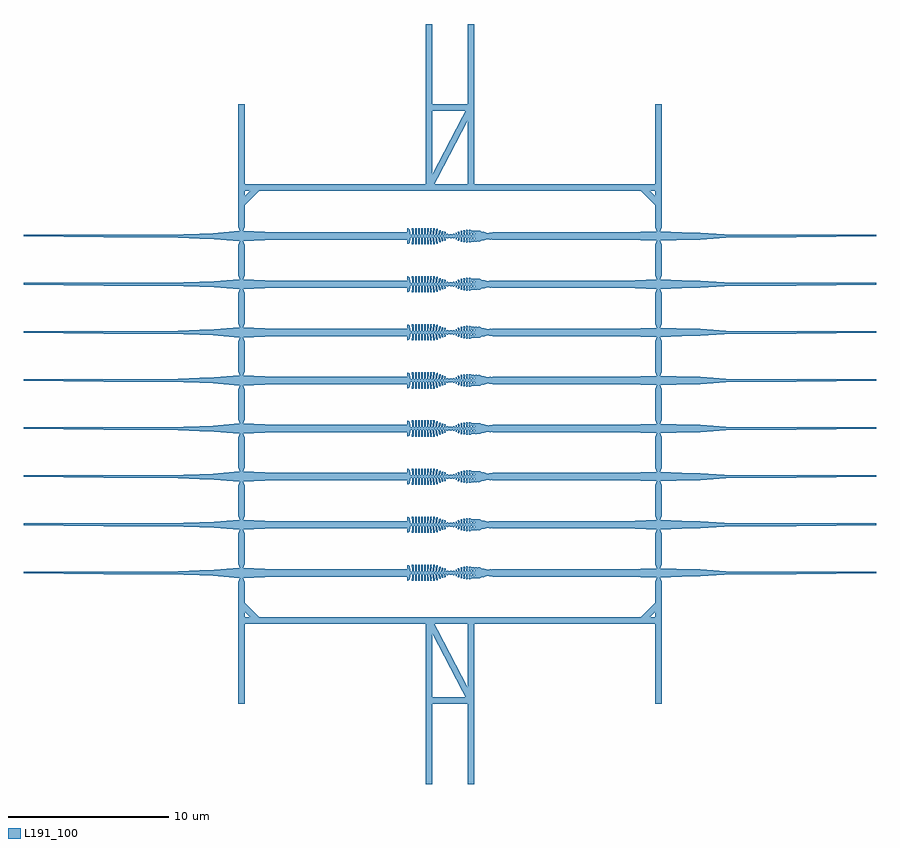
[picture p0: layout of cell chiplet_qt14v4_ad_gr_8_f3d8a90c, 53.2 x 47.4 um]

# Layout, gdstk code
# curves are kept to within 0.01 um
from math import pi, radians
import gdstk
lib = gdstk.Library(unit=1e-6, precision=1e-09)
def R(c, l, rs):  # rectangles x0, y0, x1, y1
    for r in rs: c.add(gdstk.rectangle(r[:2], r[2:], *l))
def P(c, l, *ps):  # polygons
    for p in ps: c.add(gdstk.Polygon(p, *l))
L191_100 = (191, 100)

qt14_180nm_gap_cavity_9e = lib.new_cell('QT14_180nm_gap_cavity_9e89cd71')
P(qt14_180nm_gap_cavity_9e, L191_100, [(2.652,0.206),(2.586,0.201),(2.502,0.22),(2.418,0.185),(2.294,0.191),(2.094,0.26),(1.982,0.253),(1.838,0.336),(1.718,0.324),(1.638,0.343),(1.554,0.331),(1.35,0.339),(1.222,0.395),(1.186,0.363),(1.165,0.27),(1.194,0.109),(1.154,0.084),(1.122,0.097),(1.108,0.122),(1.107,0.35),(1.062,0.396),(1.026,0.4),(1.004,0.382),(1,0.35),(1.016,0.286),(1.004,0.178),(1.027,0.09),(0.995,0.054),(0.953,0.07),(0.928,0.106),(0.939,0.322),(0.91,0.364),(0.866,0.371),(0.837,0.354),(0.828,0.182),(0.851,0.098),(0.839,0.058),(0.81,0.035),(0.761,0.09),(0.76,0.238),(0.734,0.335),(0.698,0.348),(0.671,0.33),(0.663,0.206),(0.684,0.106),(0.638,0.056),(0.604,0.062),(0.588,0.09),(0.599,0.19),(0.58,0.234),(0.538,0.284),(0.503,0.282),(0.492,0.246),(0.524,0.122),(0.512,0.086),(0.482,0.064),(0.454,0.068),(0.435,0.11),(0.435,-0.11),(0.458,-0.065),(0.486,-0.065),(0.512,-0.086),(0.524,-0.146),(0.492,-0.262),(0.526,-0.288),(0.555,-0.27),(0.596,-0.202),(0.592,-0.078),(0.622,-0.055),(0.661,-0.07),(0.684,-0.106),(0.663,-0.218),(0.671,-0.33),(0.69,-0.347),(0.722,-0.343),(0.747,-0.314),(0.763,-0.206),(0.756,-0.11),(0.777,-0.058),(0.81,-0.035),(0.85,-0.09),(0.828,-0.202),(0.834,-0.342),(0.854,-0.368),(0.902,-0.367),(0.936,-0.338),(0.924,-0.122),(0.945,-0.078),(0.99,-0.053),(1.027,-0.09),(1.004,-0.178),(1.016,-0.286),(1,-0.35),(1.004,-0.382),(1.026,-0.4),(1.062,-0.396),(1.107,-0.35),(1.108,-0.122),(1.122,-0.097),(1.154,-0.084),(1.185,-0.094),(1.195,-0.114),(1.165,-0.27),(1.182,-0.353),(1.214,-0.393),(1.258,-0.388),(1.35,-0.339),(1.554,-0.331),(1.638,-0.343),(1.718,-0.324),(1.822,-0.339),(1.982,-0.253),(2.094,-0.26),(2.294,-0.191),(2.418,-0.185),(2.502,-0.22),(2.586,-0.201),(2.65,-0.212),(2.652,-0.138),(1.557,-0.138),(1.542,-0.198),(1.506,-0.213),(1.469,-0.182),(1.469,-0.11),(1.377,-0.11),(1.354,-0.184),(1.314,-0.2),(1.272,-0.122),(1.272,-0.098),(1.3,-0.066),(1.358,-0.062),(1.377,-0.11),(1.469,-0.11),(1.495,-0.078),(1.526,-0.076),(1.547,-0.094),(1.557,-0.138),(2.652,-0.138),(2.652,0.142),(1.557,0.142),(1.551,0.102),(1.526,0.076),(1.49,0.081),(1.468,0.114),(1.377,0.114),(1.363,0.066),(1.326,0.056),(1.272,0.098),(1.276,0.138),(1.314,0.2),(1.354,0.184),(1.377,0.114),(1.468,0.114),(1.469,0.182),(1.506,0.213),(1.542,0.198),(1.557,0.142),(2.652,0.142)],
  [(-1.058,0.504),(-1.072,0.134),(-1.103,0.09),(-1.154,0.063),(-1.179,0.074),(-1.185,0.098),(-1.151,0.294),(-1.159,0.442),(-1.139,0.502),(-1.24,0.503),(-1.238,-0.504),(-1.139,-0.502),(-1.159,-0.442),(-1.151,-0.294),(-1.185,-0.098),(-1.162,-0.064),(-1.11,-0.084),(-1.072,-0.134),(-1.058,-0.504),(-0.957,-0.494),(-0.98,-0.194),(-1.012,-0.102),(-1.004,-0.062),(-0.978,-0.038),(-0.942,-0.058),(-0.904,-0.114),(-0.88,-0.35),(-0.84,-0.434),(-0.794,-0.469),(-0.761,-0.454),(-0.756,-0.426),(-0.807,-0.266),(-0.804,-0.182),(-0.836,-0.094),(-0.832,-0.058),(-0.81,-0.039),(-0.774,-0.052),(-0.732,-0.102),(-0.708,-0.266),(-0.626,-0.376),(-0.59,-0.371),(-0.564,-0.334),(-0.652,-0.11),(-0.648,-0.062),(-0.624,-0.038),(-0.594,-0.046),(-0.565,-0.078),(-0.515,-0.262),(-0.466,-0.312),(-0.435,-0.298),(-0.412,-0.25),(-0.456,-0.106),(-0.448,-0.062),(-0.422,-0.048),(-0.372,-0.09),(-0.356,-0.146),(-0.363,-0.238),(-0.33,-0.275),(-0.298,-0.267),(-0.279,-0.242),(-0.296,-0.13),(-0.258,-0.088),(-0.166,-0.144),(-0.074,-0.096),(0.078,-0.123),(0.154,-0.08),(0.208,-0.138),(0.234,-0.145),(0.326,-0.061),(0.347,-0.086),(0.37,-0.194),(0.394,-0.2),(0.419,-0.17),(0.435,-0.11),(0.435,0.11),(0.419,0.17),(0.394,0.2),(0.361,0.182),(0.347,0.086),(0.326,0.061),(0.234,0.145),(0.208,0.138),(0.154,0.08),(0.078,0.123),(-0.074,0.096),(-0.166,0.144),(-0.258,0.088),(-0.296,0.13),(-0.279,0.242),(-0.298,0.267),(-0.33,0.275),(-0.363,0.238),(-0.356,0.146),(-0.372,0.09),(-0.422,0.048),(-0.448,0.062),(-0.456,0.106),(-0.412,0.25),(-0.435,0.298),(-0.466,0.312),(-0.515,0.262),(-0.565,0.078),(-0.594,0.046),(-0.624,0.038),(-0.648,0.062),(-0.652,0.11),(-0.564,0.322),(-0.574,0.357),(-0.606,0.376),(-0.647,0.362),(-0.708,0.266),(-0.716,0.15),(-0.737,0.094),(-0.778,0.049),(-0.818,0.042),(-0.836,0.094),(-0.804,0.182),(-0.807,0.266),(-0.756,0.426),(-0.761,0.454),(-0.786,0.469),(-0.827,0.45),(-0.868,0.382),(-0.891,0.302),(-0.904,0.114),(-0.942,0.058),(-0.978,0.038),(-1.004,0.062),(-1.012,0.102),(-0.98,0.194),(-0.957,0.494)],
  [(-1.242,0.272),(-1.258,0.221),(-1.26,0.102),(-1.298,0.072),(-1.351,0.074),(-1.336,0.502),(-1.434,0.503),(-1.42,0.446),(-1.433,0.118),(-1.466,0.076),(-1.518,0.077),(-1.532,0.11),(-1.516,0.222),(-1.524,0.438),(-1.509,0.502),(-1.618,0.503),(-1.597,0.434),(-1.612,0.246),(-1.604,0.106),(-1.626,0.076),(-1.686,0.076),(-1.705,0.114),(-1.704,0.498),(-1.782,0.503),(-1.795,0.362),(-1.783,0.102),(-1.803,0.074),(-1.854,0.074),(-1.889,0.114),(-1.876,0.226),(-1.888,0.502),(-1.966,0.503),(-1.976,0.318),(-1.961,0.11),(-1.992,0.07),(-2.038,0.061),(-2.08,0.106),(-2.068,0.186),(-2.078,0.502),(-2.162,0.504),(-2.155,0.114),(-2.179,0.078),(-2.218,0.066),(-2.264,0.11),(-2.281,0.502),(-2.378,0.504),(-2.387,0.45),(-2.345,0.11),(-2.364,0.078),(-2.41,0.066),(-2.46,0.09),(-2.486,0.126),(-2.489,0.246),(-2.522,0.403),(-2.578,0.459),(-2.65,0.486),(-2.651,0.278),(-2.57,0.066),(-2.572,-0.082),(-2.651,-0.278),(-2.65,-0.486),(-2.578,-0.459),(-2.526,-0.41),(-2.489,-0.246),(-2.483,-0.118),(-2.45,-0.083),(-2.394,-0.065),(-2.364,-0.078),(-2.345,-0.11),(-2.384,-0.502),(-2.282,-0.503),(-2.264,-0.11),(-2.244,-0.078),(-2.206,-0.066),(-2.174,-0.082),(-2.155,-0.114),(-2.168,-0.502),(-2.078,-0.502),(-2.068,-0.186),(-2.08,-0.106),(-2.056,-0.07),(-2.014,-0.06),(-1.978,-0.08),(-1.961,-0.11),(-1.976,-0.318),(-1.968,-0.502),(-1.888,-0.502),(-1.876,-0.226),(-1.889,-0.114),(-1.878,-0.088),(-1.834,-0.069),(-1.796,-0.078),(-1.783,-0.102),(-1.795,-0.346),(-1.785,-0.502),(-1.705,-0.502),(-1.704,-0.102),(-1.686,-0.076),(-1.662,-0.071),(-1.626,-0.076),(-1.604,-0.106),(-1.612,-0.246),(-1.597,-0.434),(-1.62,-0.502),(-1.509,-0.502),(-1.524,-0.438),(-1.516,-0.222),(-1.532,-0.098),(-1.502,-0.072),(-1.454,-0.082),(-1.433,-0.118),(-1.42,-0.446),(-1.435,-0.502),(-1.336,-0.502),(-1.336,-0.29),(-1.359,-0.098),(-1.35,-0.073),(-1.322,-0.067),(-1.26,-0.102),(-1.257,-0.23),(-1.24,-0.278)],
  [(-1.24,-0.326),(-1.24,-0.342),(-1.241,-0.346),(-1.241,-0.35),(-1.243,-0.358),(-1.243,-0.362),(-1.244,-0.366),(-1.244,-0.43),(-1.243,-0.434),(-1.243,-0.45),(-1.242,-0.462),(-1.242,-0.466),(-1.243,-0.474),(-1.243,-0.494),(-1.244,-0.502),(-1.242,-0.503),(-1.24,-0.503)],
  [(-1.242,0.503),(-1.244,0.502),(-1.243,0.494),(-1.243,0.474),(-1.242,0.466),(-1.243,0.45),(-1.243,0.434),(-1.244,0.43),(-1.244,0.366),(-1.243,0.362),(-1.243,0.358),(-1.241,0.35),(-1.241,0.346),(-1.24,0.342),(-1.24,0.322),(-1.24,0.503)])

taper_cross_section_b099 = lib.new_cell('taper_cross_section_b0997aaa')
P(taper_cross_section_b099, L191_100, [(0,-0.23),(0.03,-0.23),(0.061,-0.23),(0.091,-0.23),(0.121,-0.23),(0.152,-0.23),(0.182,-0.23),(0.212,-0.23),(0.242,-0.23),(0.273,-0.23),(0.303,-0.23),(0.333,-0.23),(0.364,-0.23),(0.394,-0.23),(0.424,-0.23),(0.455,-0.23),(0.485,-0.23),(0.515,-0.23),(0.545,-0.23),(0.576,-0.23),(0.606,-0.23),(0.636,-0.23),(0.667,-0.23),(0.697,-0.23),(0.727,-0.23),(0.758,-0.23),(0.788,-0.23),(0.818,-0.23),(0.848,-0.23),(0.879,-0.23),(0.909,-0.23),(0.939,-0.23),(0.97,-0.23),(1,-0.23),(1.03,-0.23),(1.061,-0.23),(1.091,-0.23),(1.121,-0.23),(1.152,-0.23),(1.182,-0.23),(1.212,-0.23),(1.242,-0.23),(1.273,-0.23),(1.303,-0.23),(1.333,-0.23),(1.364,-0.23),(1.394,-0.23),(1.424,-0.23),(1.455,-0.23),(1.485,-0.23),(1.515,-0.23),(1.545,-0.23),(1.576,-0.23),(1.606,-0.23),(1.636,-0.23),(1.667,-0.23),(1.697,-0.23),(1.727,-0.23),(1.758,-0.23),(1.788,-0.23),(1.818,-0.23),(1.848,-0.23),(1.879,-0.23),(1.909,-0.23),(1.939,-0.23),(1.97,-0.23),(2,-0.23),(2.03,-0.23),(2.061,-0.23),(2.091,-0.23),(2.121,-0.23),(2.152,-0.23),(2.182,-0.23),(2.212,-0.23),(2.242,-0.23),(2.273,-0.23),(2.303,-0.23),(2.333,-0.23),(2.364,-0.23),(2.394,-0.23),(2.424,-0.23),(2.455,-0.23),(2.485,-0.23),(2.515,-0.23),(2.545,-0.23),(2.576,-0.23),(2.606,-0.23),(2.636,-0.23),(2.667,-0.23),(2.697,-0.23),(2.727,-0.23),(2.758,-0.23),(2.788,-0.23),(2.818,-0.23),(2.848,-0.23),(2.879,-0.23),(2.909,-0.23),(2.939,-0.23),(2.97,-0.23),(3,-0.23),(3,0.23),(2.97,0.23),(2.939,0.23),(2.909,0.23),(2.879,0.23),(2.848,0.23),(2.818,0.23),(2.788,0.23),(2.758,0.23),(2.727,0.23),(2.697,0.23),(2.667,0.23),(2.636,0.23),(2.606,0.23),(2.576,0.23),(2.545,0.23),(2.515,0.23),(2.485,0.23),(2.455,0.23),(2.424,0.23),(2.394,0.23),(2.364,0.23),(2.333,0.23),(2.303,0.23),(2.273,0.23),(2.242,0.23),(2.212,0.23),(2.182,0.23),(2.152,0.23),(2.121,0.23),(2.091,0.23),(2.061,0.23),(2.03,0.23),(2,0.23),(1.97,0.23),(1.939,0.23),(1.909,0.23),(1.879,0.23),(1.848,0.23),(1.818,0.23),(1.788,0.23),(1.758,0.23),(1.727,0.23),(1.697,0.23),(1.667,0.23),(1.636,0.23),(1.606,0.23),(1.576,0.23),(1.545,0.23),(1.515,0.23),(1.485,0.23),(1.455,0.23),(1.424,0.23),(1.394,0.23),(1.364,0.23),(1.333,0.23),(1.303,0.23),(1.273,0.23),(1.242,0.23),(1.212,0.23),(1.182,0.23),(1.152,0.23),(1.121,0.23),(1.091,0.23),(1.061,0.23),(1.03,0.23),(1,0.23),(0.97,0.23),(0.939,0.23),(0.909,0.23),(0.879,0.23),(0.848,0.23),(0.818,0.23),(0.788,0.23),(0.758,0.23),(0.727,0.23),(0.697,0.23),(0.667,0.23),(0.636,0.23),(0.606,0.23),(0.576,0.23),(0.545,0.23),(0.515,0.23),(0.485,0.23),(0.455,0.23),(0.424,0.23),(0.394,0.23),(0.364,0.23),(0.333,0.23),(0.303,0.23),(0.273,0.23),(0.242,0.23),(0.212,0.23),(0.182,0.23),(0.152,0.23),(0.121,0.23),(0.091,0.23),(0.061,0.23),(0.03,0.23),(0,0.23)])

taper_cross_section_83e5 = lib.new_cell('taper_cross_section_83e5c939')
P(taper_cross_section_83e5, L191_100, [(0,-0.23),(0.03,-0.23),(0.061,-0.23),(0.091,-0.23),(0.121,-0.23),(0.152,-0.23),(0.182,-0.23),(0.212,-0.23),(0.242,-0.23),(0.273,-0.23),(0.303,-0.23),(0.333,-0.23),(0.364,-0.23),(0.394,-0.23),(0.424,-0.23),(0.455,-0.23),(0.485,-0.23),(0.515,-0.23),(0.545,-0.23),(0.576,-0.23),(0.606,-0.23),(0.636,-0.23),(0.667,-0.23),(0.697,-0.23),(0.727,-0.23),(0.758,-0.23),(0.788,-0.23),(0.818,-0.23),(0.848,-0.23),(0.879,-0.23),(0.909,-0.23),(0.939,-0.23),(0.97,-0.23),(1,-0.23),(1.03,-0.23),(1.061,-0.23),(1.091,-0.23),(1.121,-0.23),(1.152,-0.23),(1.182,-0.23),(1.212,-0.23),(1.242,-0.23),(1.273,-0.23),(1.303,-0.23),(1.333,-0.23),(1.364,-0.23),(1.394,-0.23),(1.424,-0.23),(1.455,-0.23),(1.485,-0.23),(1.515,-0.23),(1.545,-0.23),(1.576,-0.23),(1.606,-0.23),(1.636,-0.23),(1.667,-0.23),(1.697,-0.23),(1.727,-0.23),(1.758,-0.23),(1.788,-0.23),(1.818,-0.23),(1.848,-0.23),(1.879,-0.23),(1.909,-0.23),(1.939,-0.23),(1.97,-0.23),(2,-0.23),(2.03,-0.23),(2.061,-0.23),(2.091,-0.23),(2.121,-0.23),(2.152,-0.23),(2.182,-0.23),(2.212,-0.23),(2.242,-0.23),(2.273,-0.23),(2.303,-0.23),(2.333,-0.23),(2.364,-0.23),(2.394,-0.23),(2.424,-0.23),(2.455,-0.23),(2.485,-0.23),(2.515,-0.23),(2.545,-0.23),(2.576,-0.23),(2.606,-0.23),(2.636,-0.23),(2.667,-0.23),(2.697,-0.23),(2.727,-0.23),(2.758,-0.23),(2.788,-0.23),(2.818,-0.23),(2.848,-0.23),(2.879,-0.23),(2.909,-0.23),(2.939,-0.23),(2.97,-0.23),(3,-0.23),(3,0.23),(2.97,0.23),(2.939,0.23),(2.909,0.23),(2.879,0.23),(2.848,0.23),(2.818,0.23),(2.788,0.23),(2.758,0.23),(2.727,0.23),(2.697,0.23),(2.667,0.23),(2.636,0.23),(2.606,0.23),(2.576,0.23),(2.545,0.23),(2.515,0.23),(2.485,0.23),(2.455,0.23),(2.424,0.23),(2.394,0.23),(2.364,0.23),(2.333,0.23),(2.303,0.23),(2.273,0.23),(2.242,0.23),(2.212,0.23),(2.182,0.23),(2.152,0.23),(2.121,0.23),(2.091,0.23),(2.061,0.23),(2.03,0.23),(2,0.23),(1.97,0.23),(1.939,0.23),(1.909,0.23),(1.879,0.23),(1.848,0.23),(1.818,0.23),(1.788,0.23),(1.758,0.23),(1.727,0.23),(1.697,0.23),(1.667,0.23),(1.636,0.23),(1.606,0.23),(1.576,0.23),(1.545,0.23),(1.515,0.23),(1.485,0.23),(1.455,0.23),(1.424,0.23),(1.394,0.23),(1.364,0.23),(1.333,0.23),(1.303,0.23),(1.273,0.23),(1.242,0.23),(1.212,0.23),(1.182,0.23),(1.152,0.23),(1.121,0.23),(1.091,0.23),(1.061,0.23),(1.03,0.23),(1,0.23),(0.97,0.23),(0.939,0.23),(0.909,0.23),(0.879,0.23),(0.848,0.23),(0.818,0.23),(0.788,0.23),(0.758,0.23),(0.727,0.23),(0.697,0.23),(0.667,0.23),(0.636,0.23),(0.606,0.23),(0.576,0.23),(0.545,0.23),(0.515,0.23),(0.485,0.23),(0.455,0.23),(0.424,0.23),(0.394,0.23),(0.364,0.23),(0.333,0.23),(0.303,0.23),(0.273,0.23),(0.242,0.23),(0.212,0.23),(0.182,0.23),(0.152,0.23),(0.121,0.23),(0.091,0.23),(0.061,0.23),(0.03,0.23),(0,0.23)])

coupled_qbit_b70c0495 = lib.new_cell('coupled_qbit_b70c0495')
coupled_qbit_b70c0495.add(gdstk.Reference(qt14_180nm_gap_cavity_9e, (0,0)))
coupled_qbit_b70c0495.add(gdstk.Reference(taper_cross_section_b099, (5.652,0), rotation=pi))
coupled_qbit_b70c0495.add(gdstk.Reference(taper_cross_section_83e5, (-2.552,0), rotation=pi))

straight_69ee30db = lib.new_cell('straight_69ee30db')
R(straight_69ee30db, L191_100, [(0,-0.23,5.348,0.23)])

straight_220e92dc = lib.new_cell('straight_220e92dc')
R(straight_220e92dc, L191_100, [(0,-0.23,5.248,0.23)])

compass_d79f009c = lib.new_cell('compass_d79f009c')
R(compass_d79f009c, L191_100, [(-0.1,-0.3,0.1,0.3)])

rectangle_ed88580b = lib.new_cell('rectangle_ed88580b')
rectangle_ed88580b.add(gdstk.Reference(compass_d79f009c, (0,0)))

taper_cross_section_74e0 = lib.new_cell('taper_cross_section_74e0f155')
P(taper_cross_section_74e0, L191_100, [(0,-0.225),(2,-0.3),(2,0.3),(0,0.225)])

taper_cross_section_a297 = lib.new_cell('taper_cross_section_a2972c19')
P(taper_cross_section_a297, L191_100, [(0,-0.23),(2,-0.3),(2,0.3),(0,0.23)])

taper_cross_section_20e0 = lib.new_cell('taper_cross_section_20e0bc68')
P(taper_cross_section_20e0, L191_100, [(0,-0.1),(0.25,-0.2),(0.25,0.2),(0,0.1)])

support_cross_f89d0b61 = lib.new_cell('support_cross_f89d0b61')
support_cross_f89d0b61.add(gdstk.Reference(rectangle_ed88580b, (0,0)))
support_cross_f89d0b61.add(gdstk.Reference(taper_cross_section_74e0, (2.1,0), rotation=pi))
support_cross_f89d0b61.add(gdstk.Reference(taper_cross_section_a297, (-2.1,0)))
support_cross_f89d0b61.add(gdstk.Reference(taper_cross_section_20e0, (0,0.3), rotation=pi/2))
support_cross_f89d0b61.add(gdstk.Reference(taper_cross_section_20e0, (0,-0.3), rotation=3*pi/2))

compass_87a1f7e4 = lib.new_cell('compass_87a1f7e4')
R(compass_87a1f7e4, L191_100, [(-0.1,-0.325,0.1,0.325)])

rectangle_03c840df = lib.new_cell('rectangle_03c840df')
rectangle_03c840df.add(gdstk.Reference(compass_87a1f7e4, (0,0)))

taper_cross_section_66c0 = lib.new_cell('taper_cross_section_66c08956')
P(taper_cross_section_66c0, L191_100, [(0,-0.23),(2,-0.325),(2,0.325),(0,0.23)])

taper_cross_section_2160 = lib.new_cell('taper_cross_section_2160c1e2')
P(taper_cross_section_2160, L191_100, [(0,-0.155),(2,-0.325),(2,0.325),(0,0.155)])

support_cross_91ce4cfd = lib.new_cell('support_cross_91ce4cfd')
support_cross_91ce4cfd.add(gdstk.Reference(rectangle_03c840df, (0,0)))
support_cross_91ce4cfd.add(gdstk.Reference(taper_cross_section_66c0, (2.1,0), rotation=pi))
support_cross_91ce4cfd.add(gdstk.Reference(taper_cross_section_2160, (-2.1,0)))
support_cross_91ce4cfd.add(gdstk.Reference(taper_cross_section_20e0, (0,0.325), rotation=pi/2))
support_cross_91ce4cfd.add(gdstk.Reference(taper_cross_section_20e0, (0,-0.325), rotation=3*pi/2))

inverse_design_qbit_beam = lib.new_cell('inverse_design_qbit_beam_ee1b8f59')
inverse_design_qbit_beam.add(gdstk.Reference(coupled_qbit_b70c0495, (0,0)))
inverse_design_qbit_beam.add(gdstk.Reference(straight_69ee30db, (-5.552,0), rotation=pi))
inverse_design_qbit_beam.add(gdstk.Reference(straight_220e92dc, (5.652,0)))
inverse_design_qbit_beam.add(gdstk.Reference(support_cross_f89d0b61, (13,0)))
inverse_design_qbit_beam.add(gdstk.Reference(support_cross_91ce4cfd, (-13,0)))

c_inverse_design_qbit_beam = lib.new_cell('inverse_design_qbit_beam_array_5faf34a2')
r = gdstk.Reference(inverse_design_qbit_beam, (0,0)); r.repetition = gdstk.Repetition(1, 8, v1=(1,0), v2=(0,3)); c_inverse_design_qbit_beam.add(r)

straight_cc08c24d = lib.new_cell('straight_cc08c24d')
R(straight_cc08c24d, L191_100, [(0,-0.2,1.85,0.2)])

straight_7ad87ee6 = lib.new_cell('straight_7ad87ee6')
R(straight_7ad87ee6, L191_100, [(0,-0.2,1.9,0.2)])

qbit_beam_array_664d1158 = lib.new_cell('qbit_beam_array_664d1158')
qbit_beam_array_664d1158.add(gdstk.Reference(c_inverse_design_qbit_beam, (0,0)))
qbit_beam_array_664d1158.add(gdstk.Reference(straight_cc08c24d, (-13,0.575), rotation=pi/2))
qbit_beam_array_664d1158.add(gdstk.Reference(straight_7ad87ee6, (13,0.55), rotation=pi/2))
qbit_beam_array_664d1158.add(gdstk.Reference(straight_cc08c24d, (-13,3.575), rotation=pi/2))
qbit_beam_array_664d1158.add(gdstk.Reference(straight_7ad87ee6, (13,3.55), rotation=pi/2))
qbit_beam_array_664d1158.add(gdstk.Reference(straight_cc08c24d, (-13,6.575), rotation=pi/2))
qbit_beam_array_664d1158.add(gdstk.Reference(straight_7ad87ee6, (13,6.55), rotation=pi/2))
qbit_beam_array_664d1158.add(gdstk.Reference(straight_cc08c24d, (-13,9.575), rotation=pi/2))
qbit_beam_array_664d1158.add(gdstk.Reference(straight_7ad87ee6, (13,9.55), rotation=pi/2))
qbit_beam_array_664d1158.add(gdstk.Reference(straight_cc08c24d, (-13,12.575), rotation=pi/2))
qbit_beam_array_664d1158.add(gdstk.Reference(straight_7ad87ee6, (13,12.55), rotation=pi/2))
qbit_beam_array_664d1158.add(gdstk.Reference(straight_cc08c24d, (-13,15.575), rotation=pi/2))
qbit_beam_array_664d1158.add(gdstk.Reference(straight_7ad87ee6, (13,15.55), rotation=pi/2))
qbit_beam_array_664d1158.add(gdstk.Reference(straight_cc08c24d, (-13,18.575), rotation=pi/2))
qbit_beam_array_664d1158.add(gdstk.Reference(straight_7ad87ee6, (13,18.55), rotation=pi/2))

l_c8ea28a7 = lib.new_cell('L_c8ea28a7')
P(l_c8ea28a7, L191_100, [(-0.2,-0.2),(1.3,-0.2),(1.3,0.2),(0.2,0.2),(0.2,1.3),(-0.2,1.3),(-0.2,-0.2)])

extrude_f667d802 = lib.new_cell('extrude_f667d802')
P(extrude_f667d802, L191_100, [(1.181,0.141),(0.141,1.181),(-0.141,0.899),(0.899,-0.141)])

chiplet_frame_corner_fb6 = lib.new_cell('chiplet_frame_corner_fb6255ab')
chiplet_frame_corner_fb6.add(gdstk.Reference(l_c8ea28a7, (0,0)))
chiplet_frame_corner_fb6.add(gdstk.Reference(extrude_f667d802, (0,0)))

compass_2ac69cab = lib.new_cell('compass_2ac69cab')
R(compass_2ac69cab, L191_100, [(-0.2,-0.2,0.2,0.2)])

rectangle_2ac69cab = lib.new_cell('rectangle_2ac69cab')
rectangle_2ac69cab.add(gdstk.Reference(compass_2ac69cab, (0.2,0.2)))

straight_c0c98653 = lib.new_cell('straight_c0c98653')
R(straight_c0c98653, L191_100, [(0,-0.2,2,0.2)])

straight_d8296038 = lib.new_cell('straight_d8296038')
R(straight_d8296038, L191_100, [(0,-0.2,7.4,0.2)])

straight_0f47a090 = lib.new_cell('straight_0f47a090')
R(straight_0f47a090, L191_100, [(0,-0.2,2.2,0.2)])

straight_ca39a7c7 = lib.new_cell('straight_ca39a7c7')
R(straight_ca39a7c7, L191_100, [(0,-0.2,4.6,0.2)])

extrude_b28737ee = lib.new_cell('extrude_b28737ee')
P(extrude_b28737ee, L191_100, [(10.777,0.108),(13.377,5.108),(13.023,5.292),(10.423,0.292)])

breakout_midsection_7238 = lib.new_cell('breakout_midsection_7238e00b')
breakout_midsection_7238.add(gdstk.Reference(rectangle_2ac69cab, (0.2,0)))
breakout_midsection_7238.add(gdstk.Reference(rectangle_2ac69cab, (2.6,0)))
breakout_midsection_7238.add(gdstk.Reference(rectangle_2ac69cab, (10.4,0)))
breakout_midsection_7238.add(gdstk.Reference(rectangle_2ac69cab, (13,0)))
breakout_midsection_7238.add(gdstk.Reference(rectangle_2ac69cab, (20.8,0)))
breakout_midsection_7238.add(gdstk.Reference(rectangle_2ac69cab, (23.2,0)))
breakout_midsection_7238.add(gdstk.Reference(rectangle_2ac69cab, (10.4,5)))
breakout_midsection_7238.add(gdstk.Reference(rectangle_2ac69cab, (13,5)))
breakout_midsection_7238.add(gdstk.Reference(rectangle_2ac69cab, (10.4,10)))
breakout_midsection_7238.add(gdstk.Reference(rectangle_2ac69cab, (13,10)))
breakout_midsection_7238.add(gdstk.Reference(straight_c0c98653, (0.6,0.2)))
breakout_midsection_7238.add(gdstk.Reference(straight_d8296038, (3,0.2)))
breakout_midsection_7238.add(gdstk.Reference(straight_0f47a090, (10.8,0.2)))
breakout_midsection_7238.add(gdstk.Reference(straight_d8296038, (13.4,0.2)))
breakout_midsection_7238.add(gdstk.Reference(straight_c0c98653, (21.2,0.2)))
breakout_midsection_7238.add(gdstk.Reference(straight_0f47a090, (10.8,5.2)))
breakout_midsection_7238.add(gdstk.Reference(straight_ca39a7c7, (10.6,0.4), rotation=pi/2))
breakout_midsection_7238.add(gdstk.Reference(straight_ca39a7c7, (10.6,5.4), rotation=pi/2))
breakout_midsection_7238.add(gdstk.Reference(straight_ca39a7c7, (13.2,0.4), rotation=pi/2))
breakout_midsection_7238.add(gdstk.Reference(straight_ca39a7c7, (13.2,5.4), rotation=pi/2))
breakout_midsection_7238.add(gdstk.Reference(extrude_b28737ee, (0,0)))

straight_b8c71607 = lib.new_cell('straight_b8c71607')
R(straight_b8c71607, L191_100, [(0,-0.2,5,0.2)])

breakout_support_structu = lib.new_cell('breakout_support_structure_363ea766')
breakout_support_structu.add(gdstk.Reference(chiplet_frame_corner_fb6, (-1.1,0.2), x_reflection=True))
breakout_support_structu.add(gdstk.Reference(chiplet_frame_corner_fb6, (24.9,0.2), rotation=pi))
breakout_support_structu.add(gdstk.Reference(breakout_midsection_7238, (0,0)))
breakout_support_structu.add(gdstk.Reference(straight_b8c71607, (-1.1,0.4), rotation=pi/2))
breakout_support_structu.add(gdstk.Reference(straight_b8c71607, (24.9,0.4), rotation=pi/2))

straight_2f2d2c75 = lib.new_cell('straight_2f2d2c75')
R(straight_2f2d2c75, L191_100, [(0,-0.2,1.155,0.2)])

straight_f5ab2834 = lib.new_cell('straight_f5ab2834')
R(straight_f5ab2834, L191_100, [(0,-0.2,1.18,0.2)])

c_breakout_support_structu = lib.new_cell('breakout_support_structure_with_base_extension_5c3bd4ee')
c_breakout_support_structu.add(gdstk.Reference(breakout_support_structu, (0,0)))
c_breakout_support_structu.add(gdstk.Reference(straight_2f2d2c75, (-1.1,-1.1), rotation=3*pi/2))
c_breakout_support_structu.add(gdstk.Reference(straight_f5ab2834, (24.9,-1.1), rotation=3*pi/2))

straight_6bc4b7b7 = lib.new_cell('straight_6bc4b7b7')
R(straight_6bc4b7b7, L191_100, [(0,-0.2,1.095,0.2)])

straight_a05f0073 = lib.new_cell('straight_a05f0073')
R(straight_a05f0073, L191_100, [(0,-0.2,1.12,0.2)])

c_breakout_support_structu_ = lib.new_cell('breakout_support_structure_with_base_extension_84308aab')
c_breakout_support_structu_.add(gdstk.Reference(breakout_support_structu, (0,0)))
c_breakout_support_structu_.add(gdstk.Reference(straight_6bc4b7b7, (-1.1,-1.1), rotation=3*pi/2))
c_breakout_support_structu_.add(gdstk.Reference(straight_a05f0073, (24.9,-1.1), rotation=3*pi/2))

qt_chiplet_v2_4e317e74 = lib.new_cell('qt_chiplet_v2_4e317e74')
qt_chiplet_v2_4e317e74.add(gdstk.Reference(qbit_beam_array_664d1158, (0,0)))
qt_chiplet_v2_4e317e74.add(gdstk.Reference(c_breakout_support_structu, (-11.9,23.83)))
qt_chiplet_v2_4e317e74.add(gdstk.Reference(c_breakout_support_structu_, (-11.9,-2.77), x_reflection=True))

chiplet_qt14v4_8d6b0e8d = lib.new_cell('chiplet_qt14v4_8d6b0e8d')
chiplet_qt14v4_8d6b0e8d.add(gdstk.Reference(qt_chiplet_v2_4e317e74, (0,0)))

straight_5b8eeee8 = lib.new_cell('straight_5b8eeee8')
R(straight_5b8eeee8, L191_100, [(0,-0.155,0.5,0.155)])

taper_9b1bdfca = lib.new_cell('taper_9b1bdfca')
P(taper_9b1bdfca, L191_100, [(0,0.155),(2,0.08),(2,-0.08),(0,-0.155)])

straight_3af902ff = lib.new_cell('straight_3af902ff')
R(straight_3af902ff, L191_100, [(0,-0.08,4,0.08)])

ramp_6c3b3d98 = lib.new_cell('ramp_6c3b3d98')
P(ramp_6c3b3d98, L191_100, [(0,0.16),(5,0.1),(5,0),(0,0)])

xceleprint_d_sin_transit = lib.new_cell('xceleprint_d_sin_transition_7fae5980')
xceleprint_d_sin_transit.add(gdstk.Reference(straight_5b8eeee8, (0,0)))
xceleprint_d_sin_transit.add(gdstk.Reference(taper_9b1bdfca, (0.5,0)))
xceleprint_d_sin_transit.add(gdstk.Reference(straight_3af902ff, (2.5,0)))
xceleprint_d_sin_transit.add(gdstk.Reference(ramp_6c3b3d98, (6.5,0.08), x_reflection=True))

straight_ee09d4de = lib.new_cell('straight_ee09d4de')
R(straight_ee09d4de, L191_100, [(0,-0.225,0.5,0.225)])

taper_5277910b = lib.new_cell('taper_5277910b')
P(taper_5277910b, L191_100, [(0,0.225),(2,0.08),(2,-0.08),(0,-0.225)])

c_xceleprint_d_sin_transit = lib.new_cell('xceleprint_d_sin_transition_d7fa76c1')
c_xceleprint_d_sin_transit.add(gdstk.Reference(straight_ee09d4de, (0,0)))
c_xceleprint_d_sin_transit.add(gdstk.Reference(taper_5277910b, (0.5,0)))
c_xceleprint_d_sin_transit.add(gdstk.Reference(straight_3af902ff, (2.5,0)))
c_xceleprint_d_sin_transit.add(gdstk.Reference(ramp_6c3b3d98, (6.5,0.08), x_reflection=True))

chiplet_qt14v4_ad_gr_8_f = lib.new_cell('chiplet_qt14v4_ad_gr_8_f3d8a90c')
chiplet_qt14v4_ad_gr_8_f.add(gdstk.Reference(chiplet_qt14v4_8d6b0e8d, (0,-10.53)))
chiplet_qt14v4_ad_gr_8_f.add(gdstk.Reference(xceleprint_d_sin_transit, (-15.1,-10.53), rotation=pi, x_reflection=True))
chiplet_qt14v4_ad_gr_8_f.add(gdstk.Reference(xceleprint_d_sin_transit, (-15.1,-7.53), rotation=pi, x_reflection=True))
chiplet_qt14v4_ad_gr_8_f.add(gdstk.Reference(xceleprint_d_sin_transit, (-15.1,-4.53), rotation=pi, x_reflection=True))
chiplet_qt14v4_ad_gr_8_f.add(gdstk.Reference(xceleprint_d_sin_transit, (-15.1,-1.53), rotation=pi, x_reflection=True))
chiplet_qt14v4_ad_gr_8_f.add(gdstk.Reference(xceleprint_d_sin_transit, (-15.1,1.47), rotation=pi, x_reflection=True))
chiplet_qt14v4_ad_gr_8_f.add(gdstk.Reference(xceleprint_d_sin_transit, (-15.1,4.47), rotation=pi, x_reflection=True))
chiplet_qt14v4_ad_gr_8_f.add(gdstk.Reference(xceleprint_d_sin_transit, (-15.1,7.47), rotation=pi, x_reflection=True))
chiplet_qt14v4_ad_gr_8_f.add(gdstk.Reference(xceleprint_d_sin_transit, (-15.1,10.47), rotation=pi, x_reflection=True))
chiplet_qt14v4_ad_gr_8_f.add(gdstk.Reference(c_xceleprint_d_sin_transit, (15.1,10.47)))
chiplet_qt14v4_ad_gr_8_f.add(gdstk.Reference(c_xceleprint_d_sin_transit, (15.1,7.47)))
chiplet_qt14v4_ad_gr_8_f.add(gdstk.Reference(c_xceleprint_d_sin_transit, (15.1,4.47)))
chiplet_qt14v4_ad_gr_8_f.add(gdstk.Reference(c_xceleprint_d_sin_transit, (15.1,1.47)))
chiplet_qt14v4_ad_gr_8_f.add(gdstk.Reference(c_xceleprint_d_sin_transit, (15.1,-1.53)))
chiplet_qt14v4_ad_gr_8_f.add(gdstk.Reference(c_xceleprint_d_sin_transit, (15.1,-4.53)))
chiplet_qt14v4_ad_gr_8_f.add(gdstk.Reference(c_xceleprint_d_sin_transit, (15.1,-7.53)))
chiplet_qt14v4_ad_gr_8_f.add(gdstk.Reference(c_xceleprint_d_sin_transit, (15.1,-10.53)))

lib.write_gds('chiplet_qt14v4_ad_gr_8_f3d8a90c.gds')
